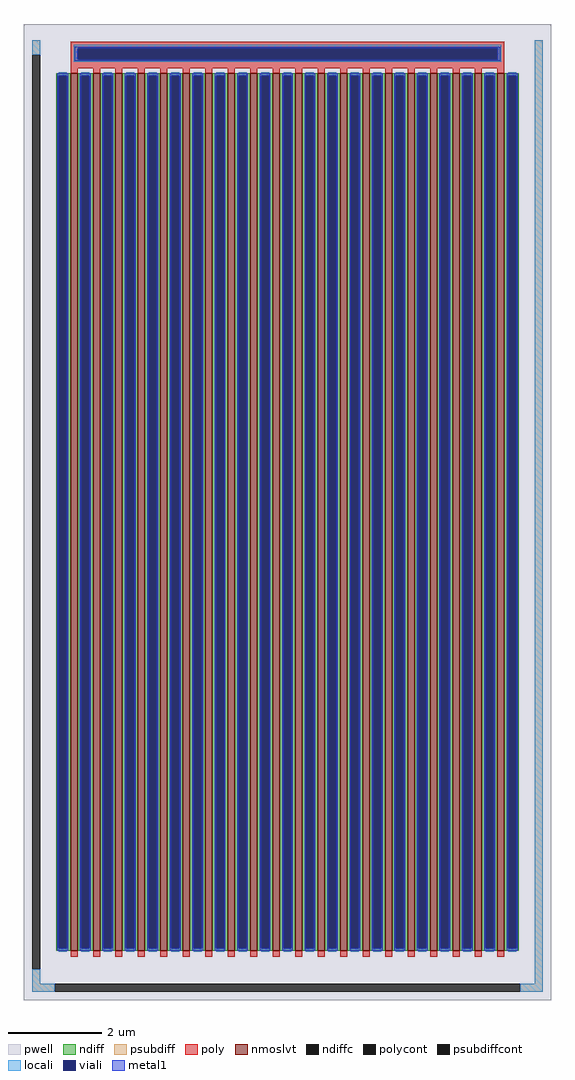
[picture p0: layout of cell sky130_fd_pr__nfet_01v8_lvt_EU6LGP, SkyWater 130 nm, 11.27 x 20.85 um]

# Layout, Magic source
magic
tech sky130A
magscale 1 2
<< pwell >>
rect -1127 -2085 1127 2085
<< nmoslvt >>
rect -927 -1875 -897 1875
rect -831 -1875 -801 1875
rect -735 -1875 -705 1875
rect -639 -1875 -609 1875
rect -543 -1875 -513 1875
rect -447 -1875 -417 1875
rect -351 -1875 -321 1875
rect -255 -1875 -225 1875
rect -159 -1875 -129 1875
rect -63 -1875 -33 1875
rect 33 -1875 63 1875
rect 129 -1875 159 1875
rect 225 -1875 255 1875
rect 321 -1875 351 1875
rect 417 -1875 447 1875
rect 513 -1875 543 1875
rect 609 -1875 639 1875
rect 705 -1875 735 1875
rect 801 -1875 831 1875
rect 897 -1875 927 1875
<< ndiff >>
rect -989 1863 -927 1875
rect -989 -1863 -977 1863
rect -943 -1863 -927 1863
rect -989 -1875 -927 -1863
rect -897 1863 -831 1875
rect -897 -1863 -881 1863
rect -847 -1863 -831 1863
rect -897 -1875 -831 -1863
rect -801 1863 -735 1875
rect -801 -1863 -785 1863
rect -751 -1863 -735 1863
rect -801 -1875 -735 -1863
rect -705 1863 -639 1875
rect -705 -1863 -689 1863
rect -655 -1863 -639 1863
rect -705 -1875 -639 -1863
rect -609 1863 -543 1875
rect -609 -1863 -593 1863
rect -559 -1863 -543 1863
rect -609 -1875 -543 -1863
rect -513 1863 -447 1875
rect -513 -1863 -497 1863
rect -463 -1863 -447 1863
rect -513 -1875 -447 -1863
rect -417 1863 -351 1875
rect -417 -1863 -401 1863
rect -367 -1863 -351 1863
rect -417 -1875 -351 -1863
rect -321 1863 -255 1875
rect -321 -1863 -305 1863
rect -271 -1863 -255 1863
rect -321 -1875 -255 -1863
rect -225 1863 -159 1875
rect -225 -1863 -209 1863
rect -175 -1863 -159 1863
rect -225 -1875 -159 -1863
rect -129 1863 -63 1875
rect -129 -1863 -113 1863
rect -79 -1863 -63 1863
rect -129 -1875 -63 -1863
rect -33 1863 33 1875
rect -33 -1863 -17 1863
rect 17 -1863 33 1863
rect -33 -1875 33 -1863
rect 63 1863 129 1875
rect 63 -1863 79 1863
rect 113 -1863 129 1863
rect 63 -1875 129 -1863
rect 159 1863 225 1875
rect 159 -1863 175 1863
rect 209 -1863 225 1863
rect 159 -1875 225 -1863
rect 255 1863 321 1875
rect 255 -1863 271 1863
rect 305 -1863 321 1863
rect 255 -1875 321 -1863
rect 351 1863 417 1875
rect 351 -1863 367 1863
rect 401 -1863 417 1863
rect 351 -1875 417 -1863
rect 447 1863 513 1875
rect 447 -1863 463 1863
rect 497 -1863 513 1863
rect 447 -1875 513 -1863
rect 543 1863 609 1875
rect 543 -1863 559 1863
rect 593 -1863 609 1863
rect 543 -1875 609 -1863
rect 639 1863 705 1875
rect 639 -1863 655 1863
rect 689 -1863 705 1863
rect 639 -1875 705 -1863
rect 735 1863 801 1875
rect 735 -1863 751 1863
rect 785 -1863 801 1863
rect 735 -1875 801 -1863
rect 831 1863 897 1875
rect 831 -1863 847 1863
rect 881 -1863 897 1863
rect 831 -1875 897 -1863
rect 927 1863 989 1875
rect 927 -1863 943 1863
rect 977 -1863 989 1863
rect 927 -1875 989 -1863
<< ndiffc >>
rect -977 -1863 -943 1863
rect -881 -1863 -847 1863
rect -785 -1863 -751 1863
rect -689 -1863 -655 1863
rect -593 -1863 -559 1863
rect -497 -1863 -463 1863
rect -401 -1863 -367 1863
rect -305 -1863 -271 1863
rect -209 -1863 -175 1863
rect -113 -1863 -79 1863
rect -17 -1863 17 1863
rect 79 -1863 113 1863
rect 175 -1863 209 1863
rect 271 -1863 305 1863
rect 367 -1863 401 1863
rect 463 -1863 497 1863
rect 559 -1863 593 1863
rect 655 -1863 689 1863
rect 751 -1863 785 1863
rect 847 -1863 881 1863
rect 943 -1863 977 1863
<< psubdiff >>
rect -1091 1953 -1057 2015
rect -1091 -2015 -1057 -1953
rect 1057 -2015 1091 2015
rect -1091 -2049 -995 -2015
rect 995 -2049 1091 -2015
<< psubdiffcont >>
rect -1091 -1953 -1057 1953
rect -995 -2049 995 -2015
<< poly >>
rect -927 1981 927 2009
rect -927 1933 -897 1981
rect 898 1933 927 1981
rect -927 1897 927 1933
rect -927 1875 -897 1897
rect -831 1875 -801 1897
rect -735 1875 -705 1897
rect -639 1875 -609 1897
rect -543 1875 -513 1897
rect -447 1875 -417 1897
rect -351 1875 -321 1897
rect -255 1875 -225 1897
rect -159 1875 -129 1897
rect -63 1875 -33 1897
rect 33 1875 63 1897
rect 129 1875 159 1897
rect 225 1875 255 1897
rect 321 1875 351 1897
rect 417 1875 447 1897
rect 513 1875 543 1897
rect 609 1875 639 1897
rect 705 1875 735 1897
rect 801 1875 831 1897
rect 897 1875 927 1897
rect -927 -1901 -897 -1875
rect -831 -1901 -801 -1875
rect -735 -1901 -705 -1875
rect -639 -1901 -609 -1875
rect -543 -1901 -513 -1875
rect -447 -1901 -417 -1875
rect -351 -1901 -321 -1875
rect -255 -1901 -225 -1875
rect -159 -1901 -129 -1875
rect -63 -1901 -33 -1875
rect 33 -1901 63 -1875
rect 129 -1901 159 -1875
rect 225 -1901 255 -1875
rect 321 -1901 351 -1875
rect 417 -1901 447 -1875
rect 513 -1901 543 -1875
rect 609 -1901 639 -1875
rect 705 -1901 735 -1875
rect 801 -1901 831 -1875
rect 897 -1901 927 -1875
<< polycont >>
rect -897 1933 898 1981
<< locali >>
rect -1091 1953 -1057 2015
rect -913 1981 914 1997
rect -913 1933 -897 1981
rect 898 1933 914 1981
rect -913 1923 914 1933
rect -977 1863 -943 1879
rect -977 -1879 -943 -1863
rect -881 1863 -847 1879
rect -881 -1879 -847 -1863
rect -785 1863 -751 1879
rect -785 -1879 -751 -1863
rect -689 1863 -655 1879
rect -689 -1879 -655 -1863
rect -593 1863 -559 1879
rect -593 -1879 -559 -1863
rect -497 1863 -463 1879
rect -497 -1879 -463 -1863
rect -401 1863 -367 1879
rect -401 -1879 -367 -1863
rect -305 1863 -271 1879
rect -305 -1879 -271 -1863
rect -209 1863 -175 1879
rect -209 -1879 -175 -1863
rect -113 1863 -79 1879
rect -113 -1879 -79 -1863
rect -17 1863 17 1879
rect -17 -1879 17 -1863
rect 79 1863 113 1879
rect 79 -1879 113 -1863
rect 175 1863 209 1879
rect 175 -1879 209 -1863
rect 271 1863 305 1879
rect 271 -1879 305 -1863
rect 367 1863 401 1879
rect 367 -1879 401 -1863
rect 463 1863 497 1879
rect 463 -1879 497 -1863
rect 559 1863 593 1879
rect 559 -1879 593 -1863
rect 655 1863 689 1879
rect 655 -1879 689 -1863
rect 751 1863 785 1879
rect 751 -1879 785 -1863
rect 847 1863 881 1879
rect 847 -1879 881 -1863
rect 943 1863 977 1879
rect 943 -1879 977 -1863
rect -1091 -2015 -1057 -1953
rect 1057 -2015 1091 2015
rect -1091 -2049 -995 -2015
rect 995 -2049 1091 -2015
<< viali >>
rect -897 1933 898 1981
rect -977 -1863 -943 1863
rect -881 -1863 -847 1863
rect -785 -1863 -751 1863
rect -689 -1863 -655 1863
rect -593 -1863 -559 1863
rect -497 -1863 -463 1863
rect -401 -1863 -367 1863
rect -305 -1863 -271 1863
rect -209 -1863 -175 1863
rect -113 -1863 -79 1863
rect -17 -1863 17 1863
rect 79 -1863 113 1863
rect 175 -1863 209 1863
rect 271 -1863 305 1863
rect 367 -1863 401 1863
rect 463 -1863 497 1863
rect 559 -1863 593 1863
rect 655 -1863 689 1863
rect 751 -1863 785 1863
rect 847 -1863 881 1863
rect 943 -1863 977 1863
<< metal1 >>
rect -909 1981 910 1987
rect -909 1933 -897 1981
rect 898 1933 910 1981
rect -909 1927 910 1933
rect -983 1863 -937 1875
rect -983 -1863 -977 1863
rect -943 -1863 -937 1863
rect -983 -1875 -937 -1863
rect -887 1863 -841 1875
rect -887 -1863 -881 1863
rect -847 -1863 -841 1863
rect -887 -1875 -841 -1863
rect -791 1863 -745 1875
rect -791 -1863 -785 1863
rect -751 -1863 -745 1863
rect -791 -1875 -745 -1863
rect -695 1863 -649 1875
rect -695 -1863 -689 1863
rect -655 -1863 -649 1863
rect -695 -1875 -649 -1863
rect -599 1863 -553 1875
rect -599 -1863 -593 1863
rect -559 -1863 -553 1863
rect -599 -1875 -553 -1863
rect -503 1863 -457 1875
rect -503 -1863 -497 1863
rect -463 -1863 -457 1863
rect -503 -1875 -457 -1863
rect -407 1863 -361 1875
rect -407 -1863 -401 1863
rect -367 -1863 -361 1863
rect -407 -1875 -361 -1863
rect -311 1863 -265 1875
rect -311 -1863 -305 1863
rect -271 -1863 -265 1863
rect -311 -1875 -265 -1863
rect -215 1863 -169 1875
rect -215 -1863 -209 1863
rect -175 -1863 -169 1863
rect -215 -1875 -169 -1863
rect -119 1863 -73 1875
rect -119 -1863 -113 1863
rect -79 -1863 -73 1863
rect -119 -1875 -73 -1863
rect -23 1863 23 1875
rect -23 -1863 -17 1863
rect 17 -1863 23 1863
rect -23 -1875 23 -1863
rect 73 1863 119 1875
rect 73 -1863 79 1863
rect 113 -1863 119 1863
rect 73 -1875 119 -1863
rect 169 1863 215 1875
rect 169 -1863 175 1863
rect 209 -1863 215 1863
rect 169 -1875 215 -1863
rect 265 1863 311 1875
rect 265 -1863 271 1863
rect 305 -1863 311 1863
rect 265 -1875 311 -1863
rect 361 1863 407 1875
rect 361 -1863 367 1863
rect 401 -1863 407 1863
rect 361 -1875 407 -1863
rect 457 1863 503 1875
rect 457 -1863 463 1863
rect 497 -1863 503 1863
rect 457 -1875 503 -1863
rect 553 1863 599 1875
rect 553 -1863 559 1863
rect 593 -1863 599 1863
rect 553 -1875 599 -1863
rect 649 1863 695 1875
rect 649 -1863 655 1863
rect 689 -1863 695 1863
rect 649 -1875 695 -1863
rect 745 1863 791 1875
rect 745 -1863 751 1863
rect 785 -1863 791 1863
rect 745 -1875 791 -1863
rect 841 1863 887 1875
rect 841 -1863 847 1863
rect 881 -1863 887 1863
rect 841 -1875 887 -1863
rect 937 1863 983 1875
rect 937 -1863 943 1863
rect 977 -1863 983 1863
rect 937 -1875 983 -1863
<< properties >>
string gencell sky130_fd_pr__nfet_01v8_lvt
string FIXED_BBOX -1074 -2032 1074 2032
string parameters w 18.75 l 0.150 m 1 nf 20 diffcov 100 polycov 100 guard 1 glc 1 grc 0 gtc 0 gbc 1 tbcov 100 rlcov 100 topc 1 botc 0 poverlap 0 doverlap 1 lmin 0.15 wmin 0.42 compatible {sky130_fd_pr__nfet_01v8 sky130_fd_pr__nfet_01v8_lvt  sky130_fd_bs_flash__special_sonosfet_star  sky130_fd_pr__nfet_g5v0d10v5 sky130_fd_pr__nfet_05v0_nvt  sky130_fd_pr__nfet_03v3_nvt} full_metal 1 viasrc 100 viadrn 100 viagate 100 viagb 0 viagr 0 viagl 0 viagt 0
string library sky130
<< end >>
